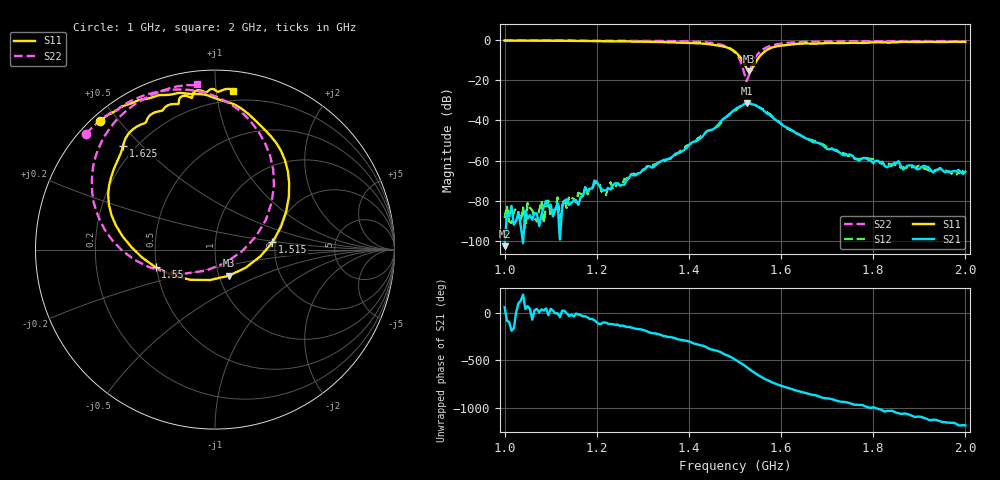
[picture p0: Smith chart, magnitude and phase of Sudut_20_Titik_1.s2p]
# Hz S RI R 50
! CMT, C1220, 16058040, 17.2.0/1
! Date: 14/08/2018 12:53:43
! Data: Format (Calibration Info)
! Freq  S11: Re/Im (F2)  S21: Re/Im (F2)  S12: Re/Im (F2)  S22: Re/Im (F2)
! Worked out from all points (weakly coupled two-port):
!   201 points, 1 GHz to 2 GHz, reference 50 ohm
!   highest |S21| = -31.30 dB at 1.525 GHz (marker M1); lowest = -102.5 dB at 1 GHz (marker M2)
!   lowest |S11| = -15.7 dB at 1.53 GHz (marker M3), VSWR 1.39, Z = 55.5 - j16.7 ohm
!   |S11| at or under -10 dB: 1.515 GHz to 1.548 GHz (32.55 MHz wide, 2.12 % of centre)
!   |S22| runs from -20.6 to -0.3 dB; largest |S21 - S12| = 0.0011
!   S11 on the Smith chart (normalised r, x): 1 GHz: 0.02, +0.45; 1.515 GHz: 1.93, +0.17; 1.55 GHz: 0.50, -0.11; 1.625 GHz: 0.15, +0.44; 2 GHz: 0.13, +1.11
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1e9  -0.6415 0.7141  3.23e-06 6.78e-06  1.23e-05 3.52e-05  -0.7194 0.6451
1.17e9  -0.4484 0.8227  0.000112 -7.01e-05  0.000121 -4.49e-05  -0.5772 0.7649
1.175e9  -0.4411 0.826  0.000181 -0.000118  0.000177 -0.00013  -0.5715 0.7679
1.18e9  -0.4333 0.8294  0.000125 -0.000115  0.000122 -8.04e-05  -0.566 0.7707
1.195e9  -0.4099 0.8362  9.07e-05 -0.000308  9.82e-05 -0.000254  -0.5481 0.7769
1.22e9  -0.3728 0.8413  -2.95e-05 -0.000181  -3.84e-05 -0.000136  -0.5313 0.7903
1.23e9  -0.3547 0.8464  -7.93e-05 -0.000174  -0.000113 -0.000266  -0.5203 0.7994
1.235e9  -0.3457 0.8494  -0.000103 -0.000223  -0.000104 -0.000163  -0.5143 0.8034
1.255e9  -0.314 0.8601  -0.000163 -0.000191  -0.000151 -0.000186  -0.4885 0.818
1.335e9  -0.165 0.8698  -0.000675 0.000607  -0.000638 0.000665  -0.3607 0.8693
1.45e9  0.2108 0.7329  0.00527 -0.00243  0.00528 -0.00277  0.0464 0.8331
1.5e9  0.4115 0.2952  -0.0119 -0.0143  -0.0112 -0.0135  0.3285 0.3591
1.515e9  0.32 0.0405  -0.0233 -0.00213  -0.0234 -0.00281  0.227 0.0716
1.525e9  0.1712 -0.1009  -0.0237 0.0134  -0.024 0.0135  0.0562 -0.075
1.53e9  0.0756 -0.1461  -0.0172 0.0203  -0.0174 0.0204  -0.0522 -0.1173
1.55e9  -0.3301 -0.099  0.00909 0.0197  0.00834 0.02  -0.4495 -0.0562
1.58e9  -0.591 0.2497  0.0122 -0.00233  0.0125 -0.00288  -0.6759 0.2647
1.625e9  -0.5124 0.5778  0.000255 -0.00557  0.000446 -0.00533  -0.6498 0.5609
1.67e9  -0.393 0.7043  -0.00236 -0.00164  -0.00257 -0.00182  -0.5671 0.7
1.835e9  -0.1291 0.8454  0.000528 0.000523  0.000597 0.00056  -0.316 0.8773
1.975e9  0.0674 0.8952  8.78e-05 -0.000544  2.33e-05 -0.000433  -0.1261 0.9151
2e9  0.1022 0.8855  -0.000167 -0.000511  -0.000223 -0.00058  -0.0987 0.922
